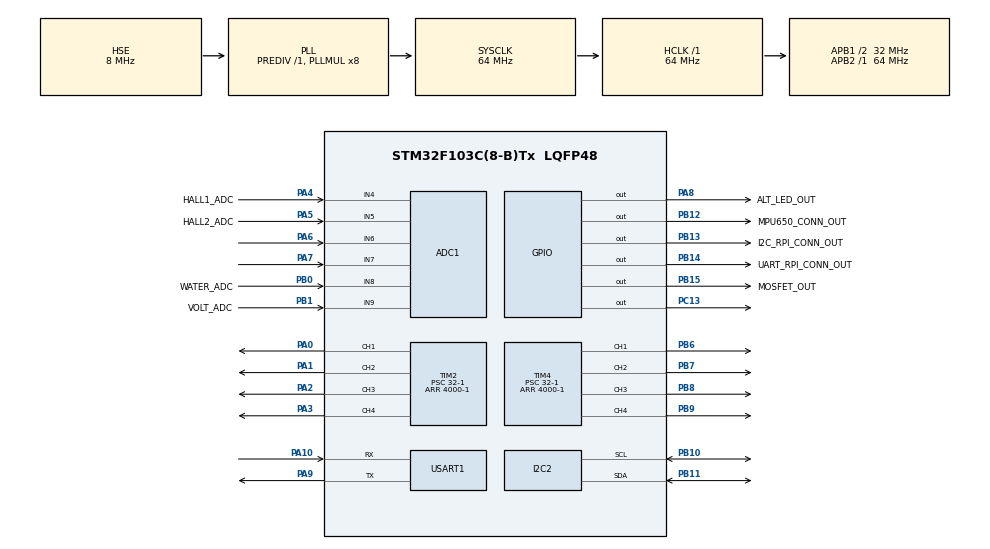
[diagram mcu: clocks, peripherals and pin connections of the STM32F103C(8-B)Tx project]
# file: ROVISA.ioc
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ADC1.Channel-10\#ChannelRegularConversion=ADC_CHANNEL_7
ADC1.Channel-11\#ChannelRegularConversion=ADC_CHANNEL_8
ADC1.Channel-12\#ChannelRegularConversion=ADC_CHANNEL_9
ADC1.Channel-7\#ChannelRegularConversion=ADC_CHANNEL_4
ADC1.Channel-8\#ChannelRegularConversion=ADC_CHANNEL_5
ADC1.Channel-9\#ChannelRegularConversion=ADC_CHANNEL_6
ADC1.ContinuousConvMode=ENABLE
ADC1.NbrOfConversion=6
ADC1.NbrOfConversionFlag=1
ADC1.Rank-10\#ChannelRegularConversion=4
ADC1.Rank-11\#ChannelRegularConversion=5
ADC1.Rank-12\#ChannelRegularConversion=6
ADC1.Rank-7\#ChannelRegularConversion=1
ADC1.Rank-8\#ChannelRegularConversion=2
ADC1.Rank-9\#ChannelRegularConversion=3
ADC1.SamplingTime-10\#ChannelRegularConversion=ADC_SAMPLETIME_1CYCLE_5
ADC1.SamplingTime-11\#ChannelRegularConversion=ADC_SAMPLETIME_1CYCLE_5
ADC1.SamplingTime-12\#ChannelRegularConversion=ADC_SAMPLETIME_1CYCLE_5
ADC1.SamplingTime-7\#ChannelRegularConversion=ADC_SAMPLETIME_1CYCLE_5
ADC1.SamplingTime-8\#ChannelRegularConversion=ADC_SAMPLETIME_1CYCLE_5
ADC1.SamplingTime-9\#ChannelRegularConversion=ADC_SAMPLETIME_1CYCLE_5
ADC1.master=1
Dma.ADC1.0.Direction=DMA_PERIPH_TO_MEMORY
Dma.ADC1.0.Instance=DMA1_Channel1
Dma.ADC1.0.MemDataAlignment=DMA_MDATAALIGN_WORD
Dma.ADC1.0.MemInc=DMA_MINC_ENABLE
Dma.ADC1.0.Mode=DMA_CIRCULAR
Dma.ADC1.0.PeriphDataAlignment=DMA_PDATAALIGN_WORD
Dma.ADC1.0.PeriphInc=DMA_PINC_DISABLE
Dma.ADC1.0.Priority=DMA_PRIORITY_LOW
Dma.Request0=ADC1
FREERTOS.Tasks01=GPIO_Value,3,128,StartGPIO_Value,Default,NULL,Dynamic,NULL,NULL;Motor_Update,3,128,StartMotor_Update,Default,NULL,Dynamic,NULL,NULL
FREERTOS.configUSE_NEWLIB_REENTRANT=1
FREERTOS.configUSE_TIMERS=0
Mcu.Family=STM32F1
Mcu.Name=STM32F103C(8-B)Tx
Mcu.Package=LQFP48
NVIC.DMA1_Channel1_IRQn=true\:5\:0\:false\:false\:true\:true\:false\:true\:true
NVIC.PriorityGroup=NVIC_PRIORITYGROUP_4
NVIC.TIM1_UP_IRQn=true\:15\:0\:false\:false\:true\:false\:false\:true\:true
NVIC.TimeBase=TIM1_UP_IRQn
NVIC.TimeBaseIP=TIM1
PA0-WKUP.Signal=S_TIM2_CH1_ETR
PA1.Signal=S_TIM2_CH2
PA10.Mode=Asynchronous
PA10.Signal=USART1_RX
PA13.Mode=Serial_Wire
PA13.Signal=SYS_JTMS-SWDIO
PA14.Mode=Serial_Wire
PA14.Signal=SYS_JTCK-SWCLK
PA2.Signal=S_TIM2_CH3
PA3.Signal=S_TIM2_CH4
PA4.GPIO_Label=HALL1_ADC
PA4.Signal=ADCx_IN4
PA5.GPIO_Label=HALL2_ADC
PA5.Signal=ADCx_IN5
PA6.Signal=ADCx_IN6
PA7.Signal=ADCx_IN7
PA8.GPIO_Label=ALT_LED_OUT
PA8.Signal=GPIO_Output
PA9.Mode=Asynchronous
PA9.Signal=USART1_TX
PB0.GPIO_Label=WATER_ADC
PB0.Signal=ADCx_IN8
PB1.GPIO_Label=VOLT_ADC
PB1.Signal=ADCx_IN9
PB10.Mode=I2C
PB10.Signal=I2C2_SCL
PB11.Mode=I2C
PB11.Signal=I2C2_SDA
PB12.GPIO_Label=MPU650_CONN_OUT
PB12.Signal=GPIO_Output
PB13.GPIO_Label=I2C_RPI_CONN_OUT
PB13.Signal=GPIO_Output
PB14.GPIO_Label=UART_RPI_CONN_OUT
PB14.Signal=GPIO_Output
PB15.GPIO_Label=MOSFET_OUT
PB15.Signal=GPIO_Output
PB6.Signal=S_TIM4_CH1
PB7.Signal=S_TIM4_CH2
PB8.Signal=S_TIM4_CH3
PB9.Signal=S_TIM4_CH4
PC13-TAMPER-RTC.Signal=GPIO_Output
PC14-OSC32_IN.Mode=LSE-External-Oscillator
PC14-OSC32_IN.Signal=RCC_OSC32_IN
PC15-OSC32_OUT.Mode=LSE-External-Oscillator
PC15-OSC32_OUT.Signal=RCC_OSC32_OUT
PD0-OSC_IN.Mode=HSE-External-Oscillator
PD0-OSC_IN.Signal=RCC_OSC_IN
PD1-OSC_OUT.Mode=HSE-External-Oscillator
PD1-OSC_OUT.Signal=RCC_OSC_OUT
ProjectManager.HeapSize=0x200
ProjectManager.StackSize=0x400
ProjectManager.TargetToolchain=STM32CubeIDE
RCC.ADCPresc=RCC_ADCPCLK2_DIV8
RCC.AHBFreq_Value=64000000
RCC.APB1CLKDivider=RCC_HCLK_DIV2
RCC.APB1Freq_Value=32000000
RCC.APB1TimFreq_Value=64000000
RCC.APB2Freq_Value=64000000
RCC.APB2TimFreq_Value=64000000
RCC.HCLKFreq_Value=64000000
RCC.PLLMUL=RCC_PLL_MUL8
RCC.PLLSourceVirtual=RCC_PLLSOURCE_HSE
RCC.SYSCLKFreq_VALUE=64000000
RCC.SYSCLKSource=RCC_SYSCLKSOURCE_PLLCLK
RCC.USBFreq_Value=64000000
SH.ADCx_IN4.0=ADC1_IN4,IN4
SH.ADCx_IN5.0=ADC1_IN5,IN5
SH.ADCx_IN6.0=ADC1_IN6,IN6
SH.ADCx_IN7.0=ADC1_IN7,IN7
SH.ADCx_IN8.0=ADC1_IN8,IN8
SH.ADCx_IN9.0=ADC1_IN9,IN9
SH.S_TIM2_CH1_ETR.0=TIM2_CH1,PWM Generation1 CH1
SH.S_TIM2_CH2.0=TIM2_CH2,PWM Generation2 CH2
SH.S_TIM2_CH3.0=TIM2_CH3,PWM Generation3 CH3
SH.S_TIM2_CH4.0=TIM2_CH4,PWM Generation4 CH4
SH.S_TIM4_CH1.0=TIM4_CH1,PWM Generation1 CH1
SH.S_TIM4_CH2.0=TIM4_CH2,PWM Generation2 CH2
SH.S_TIM4_CH3.0=TIM4_CH3,PWM Generation3 CH3
SH.S_TIM4_CH4.0=TIM4_CH4,PWM Generation4 CH4
TIM2.Channel-PWM\ Generation1\ CH1=TIM_CHANNEL_1
TIM2.Channel-PWM\ Generation2\ CH2=TIM_CHANNEL_2
TIM2.Channel-PWM\ Generation3\ CH3=TIM_CHANNEL_3
TIM2.Channel-PWM\ Generation4\ CH4=TIM_CHANNEL_4
TIM2.Period=4000-1
TIM2.Prescaler=32-1
TIM2.Pulse-PWM\ Generation1\ CH1=3000
TIM2.Pulse-PWM\ Generation2\ CH2=3000
TIM4.Channel-PWM\ Generation1\ CH1=TIM_CHANNEL_1
TIM4.Channel-PWM\ Generation2\ CH2=TIM_CHANNEL_2
TIM4.Channel-PWM\ Generation3\ CH3=TIM_CHANNEL_3
TIM4.Channel-PWM\ Generation4\ CH4=TIM_CHANNEL_4
TIM4.Period=4000-1
TIM4.Prescaler=32-1
TIM4.Pulse-PWM\ Generation3\ CH3=3000
TIM4.Pulse-PWM\ Generation4\ CH4=3000
USART1.VirtualMode=VM_ASYNC
VP_FREERTOS_VS_CMSIS_V1.Mode=CMSIS_V1
VP_SYS_VS_tim1.Mode=TIM1
VP_TIM2_VS_ClockSourceINT.Mode=Internal
VP_TIM4_VS_ClockSourceINT.Mode=Internal
board=custom

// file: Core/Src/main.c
/* USER CODE BEGIN Header */
/**
  ******************************************************************************
  * @file           : main.c
  * @brief          : Main program body
  ******************************************************************************
  * @attention
  *
  * Copyright (c) 2024 STMicroelectronics.
  * All rights reserved.
  *
  * This software is licensed under terms that can be found in the LICENSE file
  * in the root directory of this software component.
  * If no LICENSE file comes with this software, it is provided AS-IS.
  *
  ******************************************************************************
  */
/* USER CODE END Header */
#include "main.h"
#include "cmsis_os.h"

/* USER CODE BEGIN Includes */
#include "string.h"
#include "stdio.h"
/* USER CODE END Includes */

ADC_HandleTypeDef hadc1;
DMA_HandleTypeDef hdma_adc1;

I2C_HandleTypeDef hi2c2;

TIM_HandleTypeDef htim2;
TIM_HandleTypeDef htim4;

UART_HandleTypeDef huart1;

osThreadId GPIO_ValueHandle;
osThreadId Motor_UpdateHandle;

void SystemClock_Config(void);
static void MX_GPIO_Init(void);
static void MX_DMA_Init(void);
static void MX_TIM2_Init(void);
static void MX_TIM4_Init(void);
static void MX_I2C2_Init(void);
static void MX_USART1_UART_Init(void);
static void MX_ADC1_Init(void);
void StartGPIO_Value(void const * argument);
void StartMotor_Update(void const * argument);

/* USER CODE BEGIN 0 */

uint8_t RxData[12];
uint8_t RxMotor[8];
uint8_t motorverisi[8] = {80};
uint8_t TxData;
uint8_t tamer = 0;
uint32_t ADC_VAL[6];

void HAL_UART_RxCpltCallback(UART_HandleTypeDef *huart)
{
	memcpy( RxMotor, RxData, 8 * sizeof(uint8_t));
	HAL_UART_Receive_IT(&huart1, RxData, sizeof(RxData));
	tamer = 0;
}

// 40 80 120 araligina göre yazildi
void pwm_orta_deger(void)
{
	  __HAL_TIM_SET_COMPARE(&htim4,TIM_CHANNEL_1, 3000);
	  __HAL_TIM_SET_COMPARE(&htim4,TIM_CHANNEL_2, 3000);
	  __HAL_TIM_SET_COMPARE(&htim4,TIM_CHANNEL_3, 3000);
	  __HAL_TIM_SET_COMPARE(&htim4,TIM_CHANNEL_4, 3000);
	  __HAL_TIM_SET_COMPARE(&htim2,TIM_CHANNEL_1, 3000);
	  __HAL_TIM_SET_COMPARE(&htim2,TIM_CHANNEL_2, 3000);
	  __HAL_TIM_SET_COMPARE(&htim2,TIM_CHANNEL_3, 3000);
	  __HAL_TIM_SET_COMPARE(&htim2,TIM_CHANNEL_4, 3000);
}

void pwm_deger_update(void)
{
	  __HAL_TIM_SET_COMPARE(&htim2,TIM_CHANNEL_1, (2000 + ((motorverisi[0]-40)*25)));
	  __HAL_TIM_SET_COMPARE(&htim2,TIM_CHANNEL_2, (2000 + ((motorverisi[1]-40)*25)));
	  __HAL_TIM_SET_COMPARE(&htim2,TIM_CHANNEL_3, (2000 + ((motorverisi[2]-40)*25)));
	  __HAL_TIM_SET_COMPARE(&htim2,TIM_CHANNEL_4, (2000 + ((motorverisi[3]-40)*25)));
	  __HAL_TIM_SET_COMPARE(&htim4,TIM_CHANNEL_1, (2000 + ((motorverisi[4]-40)*25)));
	  __HAL_TIM_SET_COMPARE(&htim4,TIM_CHANNEL_2, (2000 + ((motorverisi[5]-40)*25)));
	  __HAL_TIM_SET_COMPARE(&htim4,TIM_CHANNEL_1, (2000 + ((motorverisi[6]-40)*25)));
	  __HAL_TIM_SET_COMPARE(&htim4,TIM_CHANNEL_2, (2000 + ((motorverisi[7]-40)*25)));
}

void motor_durdur()
{
	  while(motorverisi[0] != 80 || motorverisi[1] != 80 || motorverisi[2] != 80 || motorverisi[3] != 80 || motorverisi[4] != 80 || motorverisi[5] != 80|| motorverisi[6] != 80|| motorverisi[7] != 80)
	  {
		  for(uint8_t x = 0; x < 8; x++)
		  {
			  if(motorverisi[x] == 80)
			  {

			  }
			  else if(motorverisi[x] > 80 && motorverisi[x] < 121)
			  {
				  motorverisi[x]--;
			  }
			  else if(motorverisi[x] < 80 && motorverisi[x] > 39)
			  {
				  motorverisi[x]++;
			  }
			  pwm_deger_update();
		  }

		  HAL_Delay(30);
	  }

	  pwm_orta_deger();
	  HAL_Delay(5);
	  HAL_TIM_PWM_Stop(&htim2, TIM_CHANNEL_1);
	  HAL_TIM_PWM_Stop(&htim2, TIM_CHANNEL_2);
	  HAL_TIM_PWM_Stop(&htim2, TIM_CHANNEL_3);
	  HAL_TIM_PWM_Stop(&htim2, TIM_CHANNEL_4);
	  HAL_TIM_PWM_Stop(&htim4, TIM_CHANNEL_1);
	  HAL_TIM_PWM_Stop(&htim4, TIM_CHANNEL_2);
	  HAL_TIM_PWM_Stop(&htim4, TIM_CHANNEL_3);
	  HAL_TIM_PWM_Stop(&htim4, TIM_CHANNEL_4);
}

void motor_baslat(void)
{
	  HAL_TIM_PWM_Start(&htim2, TIM_CHANNEL_1);
	  HAL_TIM_PWM_Start(&htim2, TIM_CHANNEL_2);
	  HAL_TIM_PWM_Start(&htim2, TIM_CHANNEL_3);
	  HAL_TIM_PWM_Start(&htim2, TIM_CHANNEL_4);
	  HAL_TIM_PWM_Start(&htim4, TIM_CHANNEL_1);
	  HAL_TIM_PWM_Start(&htim4, TIM_CHANNEL_2);
	  HAL_TIM_PWM_Start(&htim4, TIM_CHANNEL_3);
	  HAL_TIM_PWM_Start(&htim4, TIM_CHANNEL_4);
	  pwm_orta_deger();
}

void motor_ata(void)
{
	for (uint8_t x = 0; x < 8; x++)
	{
		if (RxMotor[x] > motorverisi[x])
		{
			motorverisi[x]++;
		}
		else if (RxMotor[x] < motorverisi[x])
		{
			motorverisi[x]--;
		}
		else if(RxMotor[x] == motorverisi[x])
		{

		}
	}
	HAL_Delay(20);
}

void GPIO_Kontrol(void)
{

}
/* USER CODE END 0 */

int main(void)
{

  /* MCU Configuration--------------------------------------------------------*/

  /* Reset of all peripherals, Initializes the Flash interface and the Systick. */
  HAL_Init();

  /* Configure the system clock */
  SystemClock_Config();

  /* Initialize all configured peripherals */
  MX_GPIO_Init();
  MX_DMA_Init();
  MX_TIM2_Init();
  MX_TIM4_Init();
  MX_I2C2_Init();
  MX_USART1_UART_Init();
  MX_ADC1_Init();
  /* USER CODE BEGIN 2 */
  HAL_UART_Receive_IT(&huart1, RxData, sizeof(RxData));
  HAL_ADC_Start_DMA(&hadc1, ADC_VAL, sizeof(ADC_VAL));
//timer trigger eklenecek
  /* USER CODE END 2 */

  /* Create the thread(s) */
  /* definition and creation of GPIO_Value */
  osThreadDef(GPIO_Value, StartGPIO_Value, osPriorityRealtime, 0, 128);
  GPIO_ValueHandle = osThreadCreate(osThread(GPIO_Value), NULL);

  /* definition and creation of Motor_Update */
  osThreadDef(Motor_Update, StartMotor_Update, osPriorityRealtime, 0, 128);
  Motor_UpdateHandle = osThreadCreate(osThread(Motor_Update), NULL);

  /* Start scheduler */
  osKernelStart();

  /* We should never get here as control is now taken by the scheduler */
  /* Infinite loop */
  /* USER CODE BEGIN WHILE */
  memset(motorverisi, 80, 8*sizeof(*motorverisi));
  while (1)
  {
    /* USER CODE END WHILE */

  }
}

void SystemClock_Config(void)
{
  RCC_OscInitTypeDef RCC_OscInitStruct = {0};
  RCC_ClkInitTypeDef RCC_ClkInitStruct = {0};
  RCC_PeriphCLKInitTypeDef PeriphClkInit = {0};

  /** Initializes the RCC Oscillators according to the specified parameters
  * in the RCC_OscInitTypeDef structure.
  */
  RCC_OscInitStruct.OscillatorType = RCC_OSCILLATORTYPE_HSE;
  RCC_OscInitStruct.HSEState = RCC_HSE_ON;
  RCC_OscInitStruct.HSEPredivValue = RCC_HSE_PREDIV_DIV1;
  RCC_OscInitStruct.HSIState = RCC_HSI_ON;
  RCC_OscInitStruct.PLL.PLLState = RCC_PLL_ON;
  RCC_OscInitStruct.PLL.PLLSource = RCC_PLLSOURCE_HSE;
  RCC_OscInitStruct.PLL.PLLMUL = RCC_PLL_MUL8;
  if (HAL_RCC_OscConfig(&RCC_OscInitStruct) != HAL_OK)
  {
    Error_Handler();
  }

  /** Initializes the CPU, AHB and APB buses clocks
  */
  RCC_ClkInitStruct.ClockType = RCC_CLOCKTYPE_HCLK|RCC_CLOCKTYPE_SYSCLK
                              |RCC_CLOCKTYPE_PCLK1|RCC_CLOCKTYPE_PCLK2;
  RCC_ClkInitStruct.SYSCLKSource = RCC_SYSCLKSOURCE_PLLCLK;
  RCC_ClkInitStruct.AHBCLKDivider = RCC_SYSCLK_DIV1;
  RCC_ClkInitStruct.APB1CLKDivider = RCC_HCLK_DIV2;
  RCC_ClkInitStruct.APB2CLKDivider = RCC_HCLK_DIV1;

  if (HAL_RCC_ClockConfig(&RCC_ClkInitStruct, FLASH_LATENCY_2) != HAL_OK)
  {
    Error_Handler();
  }
  PeriphClkInit.PeriphClockSelection = RCC_PERIPHCLK_ADC;
  PeriphClkInit.AdcClockSelection = RCC_ADCPCLK2_DIV8;
  if (HAL_RCCEx_PeriphCLKConfig(&PeriphClkInit) != HAL_OK)
  {
    Error_Handler();
  }
}

static void MX_ADC1_Init(void)
{

  ADC_ChannelConfTypeDef sConfig = {0};

  /** Common config
  */
  hadc1.Instance = ADC1;
  hadc1.Init.ScanConvMode = ADC_SCAN_ENABLE;
  hadc1.Init.ContinuousConvMode = ENABLE;
  hadc1.Init.DiscontinuousConvMode = DISABLE;
  hadc1.Init.ExternalTrigConv = ADC_SOFTWARE_START;
  hadc1.Init.DataAlign = ADC_DATAALIGN_RIGHT;
  hadc1.Init.NbrOfConversion = 6;
  if (HAL_ADC_Init(&hadc1) != HAL_OK)
  {
    Error_Handler();
  }

  /** Configure Regular Channel
  */
  sConfig.Channel = ADC_CHANNEL_4;
  sConfig.Rank = ADC_REGULAR_RANK_1;
  sConfig.SamplingTime = ADC_SAMPLETIME_1CYCLE_5;
  if (HAL_ADC_ConfigChannel(&hadc1, &sConfig) != HAL_OK)
  {
    Error_Handler();
  }

  /** Configure Regular Channel
  */
  sConfig.Channel = ADC_CHANNEL_5;
  sConfig.Rank = ADC_REGULAR_RANK_2;
  if (HAL_ADC_ConfigChannel(&hadc1, &sConfig) != HAL_OK)
  {
    Error_Handler();
  }

  /** Configure Regular Channel
  */
  sConfig.Channel = ADC_CHANNEL_6;
  sConfig.Rank = ADC_REGULAR_RANK_3;
  if (HAL_ADC_ConfigChannel(&hadc1, &sConfig) != HAL_OK)
  {
    Error_Handler();
  }

  /** Configure Regular Channel
  */
  sConfig.Channel = ADC_CHANNEL_7;
  sConfig.Rank = ADC_REGULAR_RANK_4;
  if (HAL_ADC_ConfigChannel(&hadc1, &sConfig) != HAL_OK)
  {
    Error_Handler();
  }

  /** Configure Regular Channel
  */
  sConfig.Channel = ADC_CHANNEL_8;
  sConfig.Rank = ADC_REGULAR_RANK_5;
  if (HAL_ADC_ConfigChannel(&hadc1, &sConfig) != HAL_OK)
  {
    Error_Handler();
  }

  /** Configure Regular Channel
  */
  sConfig.Channel = ADC_CHANNEL_9;
  sConfig.Rank = ADC_REGULAR_RANK_6;
  if (HAL_ADC_ConfigChannel(&hadc1, &sConfig) != HAL_OK)
  {
    Error_Handler();
  }

}

static void MX_I2C2_Init(void)
{

  hi2c2.Instance = I2C2;
  hi2c2.Init.ClockSpeed = 100000;
  hi2c2.Init.DutyCycle = I2C_DUTYCYCLE_2;
  hi2c2.Init.OwnAddress1 = 0;
  hi2c2.Init.AddressingMode = I2C_ADDRESSINGMODE_7BIT;
  hi2c2.Init.DualAddressMode = I2C_DUALADDRESS_DISABLE;
  hi2c2.Init.OwnAddress2 = 0;
  hi2c2.Init.GeneralCallMode = I2C_GENERALCALL_DISABLE;
  hi2c2.Init.NoStretchMode = I2C_NOSTRETCH_DISABLE;
  if (HAL_I2C_Init(&hi2c2) != HAL_OK)
  {
    Error_Handler();
  }

}

static void MX_TIM2_Init(void)
{

  TIM_ClockConfigTypeDef sClockSourceConfig = {0};
  TIM_MasterConfigTypeDef sMasterConfig = {0};
  TIM_OC_InitTypeDef sConfigOC = {0};

  htim2.Instance = TIM2;
  htim2.Init.Prescaler = 32-1;
  htim2.Init.CounterMode = TIM_COUNTERMODE_UP;
  htim2.Init.Period = 4000-1;
  htim2.Init.ClockDivision = TIM_CLOCKDIVISION_DIV1;
  htim2.Init.AutoReloadPreload = TIM_AUTORELOAD_PRELOAD_DISABLE;
  if (HAL_TIM_Base_Init(&htim2) != HAL_OK)
  {
    Error_Handler();
  }
  sClockSourceConfig.ClockSource = TIM_CLOCKSOURCE_INTERNAL;
  if (HAL_TIM_ConfigClockSource(&htim2, &sClockSourceConfig) != HAL_OK)
  {
    Error_Handler();
  }
  if (HAL_TIM_PWM_Init(&htim2) != HAL_OK)
  {
    Error_Handler();
  }
  sMasterConfig.MasterOutputTrigger = TIM_TRGO_RESET;
  sMasterConfig.MasterSlaveMode = TIM_MASTERSLAVEMODE_DISABLE;
  if (HAL_TIMEx_MasterConfigSynchronization(&htim2, &sMasterConfig) != HAL_OK)
  {
    Error_Handler();
  }
  sConfigOC.OCMode = TIM_OCMODE_PWM1;
  sConfigOC.Pulse = 3000;
  sConfigOC.OCPolarity = TIM_OCPOLARITY_HIGH;
  sConfigOC.OCFastMode = TIM_OCFAST_DISABLE;
  if (HAL_TIM_PWM_ConfigChannel(&htim2, &sConfigOC, TIM_CHANNEL_1) != HAL_OK)
  {
    Error_Handler();
  }
  if (HAL_TIM_PWM_ConfigChannel(&htim2, &sConfigOC, TIM_CHANNEL_2) != HAL_OK)
  {
    Error_Handler();
  }
  sConfigOC.Pulse = 0;
  if (HAL_TIM_PWM_ConfigChannel(&htim2, &sConfigOC, TIM_CHANNEL_3) != HAL_OK)
  {
    Error_Handler();
  }
  if (HAL_TIM_PWM_ConfigChannel(&htim2, &sConfigOC, TIM_CHANNEL_4) != HAL_OK)
  {
    Error_Handler();
  }
  HAL_TIM_MspPostInit(&htim2);

}

static void MX_TIM4_Init(void)
{

  TIM_ClockConfigTypeDef sClockSourceConfig = {0};
  TIM_MasterConfigTypeDef sMasterConfig = {0};
  TIM_OC_InitTypeDef sConfigOC = {0};

  htim4.Instance = TIM4;
  htim4.Init.Prescaler = 32-1;
  htim4.Init.CounterMode = TIM_COUNTERMODE_UP;
  htim4.Init.Period = 4000-1;
  htim4.Init.ClockDivision = TIM_CLOCKDIVISION_DIV1;
  htim4.Init.AutoReloadPreload = TIM_AUTORELOAD_PRELOAD_DISABLE;
  if (HAL_TIM_Base_Init(&htim4) != HAL_OK)
  {
    Error_Handler();
  }
  sClockSourceConfig.ClockSource = TIM_CLOCKSOURCE_INTERNAL;
  if (HAL_TIM_ConfigClockSource(&htim4, &sClockSourceConfig) != HAL_OK)
  {
    Error_Handler();
  }
  if (HAL_TIM_PWM_Init(&htim4) != HAL_OK)
  {
    Error_Handler();
  }
  sMasterConfig.MasterOutputTrigger = TIM_TRGO_RESET;
  sMasterConfig.MasterSlaveMode = TIM_MASTERSLAVEMODE_DISABLE;
  if (HAL_TIMEx_MasterConfigSynchronization(&htim4, &sMasterConfig) != HAL_OK)
  {
    Error_Handler();
  }
  sConfigOC.OCMode = TIM_OCMODE_PWM1;
  sConfigOC.Pulse = 0;
  sConfigOC.OCPolarity = TIM_OCPOLARITY_HIGH;
  sConfigOC.OCFastMode = TIM_OCFAST_DISABLE;
  if (HAL_TIM_PWM_ConfigChannel(&htim4, &sConfigOC, TIM_CHANNEL_1) != HAL_OK)
  {
    Error_Handler();
  }
  if (HAL_TIM_PWM_ConfigChannel(&htim4, &sConfigOC, TIM_CHANNEL_2) != HAL_OK)
  {
    Error_Handler();
  }
  sConfigOC.Pulse = 3000;
  if (HAL_TIM_PWM_ConfigChannel(&htim4, &sConfigOC, TIM_CHANNEL_3) != HAL_OK)
  {
    Error_Handler();
  }
  if (HAL_TIM_PWM_ConfigChannel(&htim4, &sConfigOC, TIM_CHANNEL_4) != HAL_OK)
  {
    Error_Handler();
  }
  HAL_TIM_MspPostInit(&htim4);

}

static void MX_USART1_UART_Init(void)
{

  huart1.Instance = USART1;
  huart1.Init.BaudRate = 115200;
  huart1.Init.WordLength = UART_WORDLENGTH_8B;
  huart1.Init.StopBits = UART_STOPBITS_1;
  huart1.Init.Parity = UART_PARITY_NONE;
  huart1.Init.Mode = UART_MODE_TX_RX;
  huart1.Init.HwFlowCtl = UART_HWCONTROL_NONE;
  huart1.Init.OverSampling = UART_OVERSAMPLING_16;
  if (HAL_UART_Init(&huart1) != HAL_OK)
  {
    Error_Handler();
  }

}

static void MX_DMA_Init(void)
{

  /* DMA controller clock enable */
  __HAL_RCC_DMA1_CLK_ENABLE();

  /* DMA interrupt init */
  /* DMA1_Channel1_IRQn interrupt configuration */
  HAL_NVIC_SetPriority(DMA1_Channel1_IRQn, 5, 0);
  HAL_NVIC_EnableIRQ(DMA1_Channel1_IRQn);

}

static void MX_GPIO_Init(void)
{
  GPIO_InitTypeDef GPIO_InitStruct = {0};

  /* GPIO Ports Clock Enable */
  __HAL_RCC_GPIOC_CLK_ENABLE();
  __HAL_RCC_GPIOD_CLK_ENABLE();
  __HAL_RCC_GPIOA_CLK_ENABLE();
  __HAL_RCC_GPIOB_CLK_ENABLE();

  /*Configure GPIO pin Output Level */
  HAL_GPIO_WritePin(GPIOC, GPIO_PIN_13, GPIO_PIN_RESET);

  /*Configure GPIO pin Output Level */
  HAL_GPIO_WritePin(GPIOB, MPU650_CONN_OUT_Pin|I2C_RPI_CONN_OUT_Pin|UART_RPI_CONN_OUT_Pin|MOSFET_OUT_Pin, GPIO_PIN_RESET);

  /*Configure GPIO pin Output Level */
  HAL_GPIO_WritePin(ALT_LED_OUT_GPIO_Port, ALT_LED_OUT_Pin, GPIO_PIN_RESET);

  /*Configure GPIO pin : PC13 */
  GPIO_InitStruct.Pin = GPIO_PIN_13;
  GPIO_InitStruct.Mode = GPIO_MODE_OUTPUT_PP;
  GPIO_InitStruct.Pull = GPIO_NOPULL;
  GPIO_InitStruct.Speed = GPIO_SPEED_FREQ_LOW;
  HAL_GPIO_Init(GPIOC, &GPIO_InitStruct);

  /*Configure GPIO pins : MPU650_CONN_OUT_Pin I2C_RPI_CONN_OUT_Pin UART_RPI_CONN_OUT_Pin MOSFET_OUT_Pin */
  GPIO_InitStruct.Pin = MPU650_CONN_OUT_Pin|I2C_RPI_CONN_OUT_Pin|UART_RPI_CONN_OUT_Pin|MOSFET_OUT_Pin;
  GPIO_InitStruct.Mode = GPIO_MODE_OUTPUT_PP;
  GPIO_InitStruct.Pull = GPIO_NOPULL;
  GPIO_InitStruct.Speed = GPIO_SPEED_FREQ_LOW;
  HAL_GPIO_Init(GPIOB, &GPIO_InitStruct);

  /*Configure GPIO pin : ALT_LED_OUT_Pin */
  GPIO_InitStruct.Pin = ALT_LED_OUT_Pin;
  GPIO_InitStruct.Mode = GPIO_MODE_OUTPUT_PP;
  GPIO_InitStruct.Pull = GPIO_NOPULL;
  GPIO_InitStruct.Speed = GPIO_SPEED_FREQ_LOW;
  HAL_GPIO_Init(ALT_LED_OUT_GPIO_Port, &GPIO_InitStruct);

}

void StartGPIO_Value(void const * argument)
{
  /* USER CODE BEGIN 5 */
  /* Infinite loop */
  for(;;)
  {
	  GPIO_Kontrol();
    osDelay(1);
  }
  /* USER CODE END 5 */
}

void StartMotor_Update(void const * argument)
{
  /* USER CODE BEGIN StartMotor_Update */
  /* Infinite loop */
  for(;;)
  {
	  motor_ata();
    osDelay(1);
  }
  /* USER CODE END StartMotor_Update */
}

void HAL_TIM_PeriodElapsedCallback(TIM_HandleTypeDef *htim)
{
  if (htim->Instance == TIM1) {
    HAL_IncTick();
  }
}

void Error_Handler(void)
{
  __disable_irq();
  while (1)
  {
  }
}
